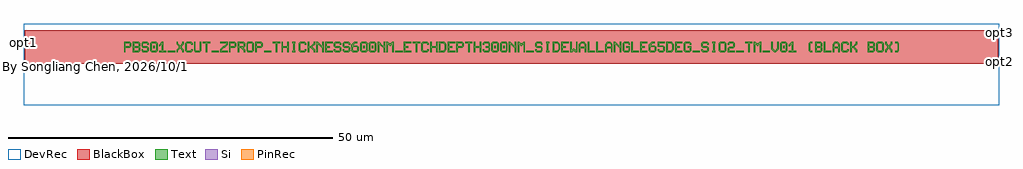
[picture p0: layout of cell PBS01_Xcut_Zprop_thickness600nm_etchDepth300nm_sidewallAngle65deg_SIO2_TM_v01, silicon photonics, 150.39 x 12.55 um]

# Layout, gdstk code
import gdstk
lib = gdstk.Library(unit=1e-6, precision=1e-10)
def R(c, l, rs):  # rectangles x0, y0, x1, y1
    for r in rs: c.add(gdstk.rectangle(r[:2], r[2:], *l))
def A(c, l, x, y, w, h, nx, ny, dx, dy):  # array of equal rectangles
    R(c, l, [(x+i*dx, y+j*dy, x+i*dx+w, y+j*dy+h) for i in range(nx) for j in range(ny)])
def P(c, l, *ps):  # polygons
    for p in ps: c.add(gdstk.Polygon(p, *l))
Si = (1, 0)
PinRec = (1, 10)
Text = (10, 0)
DevRec = (68, 0)
BlackBox = (998, 0)

text = lib.new_cell('TEXT')
A(text, Text, 21.568, 0, 1.123, 0.225, 3, 1, 20.22, 0)
R(text, Text, [(6.74,0,7.863,0.225), (13.48,0,14.603,0.225), (87.62,0,88.743,0.225), (94.36,0,95.483,0.225), (98.404,0,99.527,0.225), (4.493,0.562,4.718,1.011), (36.845,0.562,37.07,1.011), (38.193,0.562,38.418,1.011), (57.065,0.562,57.29,1.011), (58.413,0.562,58.638,1.011), (101.549,0.562,101.774,1.011)])
P(text, Text, [(0,0),(0,1.573),(0.899,1.573),(1.123,1.348),(1.123,0.899),(0.899,0.674),(0.225,0.674),(0.225,0.899),(0.786,0.899),(0.899,1.011),(0.899,1.236),(0.786,1.348),(0.225,1.348),(0.225,0)],
  [(1.348,0),(1.348,1.573),(2.247,1.573),(2.471,1.348),(1.573,1.348),(1.573,0.899),(2.134,0.899),(2.247,1.011),(2.247,1.236),(2.134,1.348),(2.471,1.348),(2.471,0.899),(2.359,0.786),(2.471,0.674),(1.573,0.674),(1.573,0.225),(2.134,0.225),(2.247,0.337),(2.247,0.562),(2.134,0.674),(2.471,0.674),(2.471,0.225),(2.247,0)],
  [(2.921,0),(2.696,0.225),(2.696,0.449),(2.921,0.449),(2.921,0.337),(3.033,0.225),(3.482,0.225),(3.595,0.337),(3.595,0.562),(3.482,0.674),(2.921,0.674),(2.696,0.899),(2.696,1.348),(2.921,1.573),(3.595,1.573),(3.819,1.348),(3.819,1.123),(3.595,1.123),(3.595,1.236),(3.482,1.348),(3.033,1.348),(2.921,1.236),(2.921,1.011),(3.033,0.899),(3.595,0.899),(3.819,0.674),(3.819,0.225),(3.595,0)],
  [(4.269,0),(4.044,0.225),(4.044,1.348),(4.269,1.573),(4.943,1.573),(5.167,1.348),(4.381,1.348),(4.269,1.236),(4.269,0.337),(4.381,0.225),(4.83,0.225),(4.943,0.337),(4.943,1.236),(4.83,1.348),(5.167,1.348),(5.167,0.225),(4.943,0)],
  [(5.392,0),(5.392,0.225),(5.841,0.225),(5.841,1.123),(5.729,1.123),(5.504,0.899),(5.392,0.899),(5.392,1.123),(5.841,1.573),(6.066,1.573),(6.066,0.225),(6.515,0.225),(6.515,0)],
  [(8.088,0),(8.088,0.337),(8.425,0.674),(8.425,0.899),(8.088,1.236),(8.088,1.573),(8.313,1.573),(8.313,1.348),(8.65,1.011),(8.987,1.348),(8.987,1.573),(9.211,1.573),(9.211,1.236),(8.874,0.899),(8.874,0.674),(9.211,0.337),(9.211,0),(8.987,0),(8.987,0.225),(8.65,0.562),(8.313,0.225),(8.313,0)],
  [(9.661,0),(9.436,0.225),(9.436,1.348),(9.661,1.573),(10.335,1.573),(10.559,1.348),(10.559,1.123),(10.335,1.123),(10.335,1.236),(10.222,1.348),(9.773,1.348),(9.661,1.236),(9.661,0.337),(9.773,0.225),(10.222,0.225),(10.335,0.337),(10.335,0.449),(10.559,0.449),(10.559,0.225),(10.335,0)],
  [(11.009,0),(10.784,0.225),(10.784,1.573),(11.009,1.573),(11.009,0.337),(11.121,0.225),(11.57,0.225),(11.683,0.337),(11.683,1.573),(11.907,1.573),(11.907,0.225),(11.683,0)],
  [(12.581,0),(12.581,1.348),(12.132,1.348),(12.132,1.573),(13.255,1.573),(13.255,1.348),(12.806,1.348),(12.806,0)],
  [(14.828,0),(14.828,0.449),(15.277,0.899),(15.39,0.899),(15.727,1.236),(15.727,1.348),(14.828,1.348),(14.828,1.573),(15.951,1.573),(15.951,1.123),(15.502,0.674),(15.39,0.674),(15.053,0.337),(15.053,0.225),(15.951,0.225),(15.951,0)],
  [(16.176,0),(16.176,1.573),(17.075,1.573),(17.299,1.348),(17.299,0.899),(17.075,0.674),(16.401,0.674),(16.401,0.899),(16.962,0.899),(17.075,1.011),(17.075,1.236),(16.962,1.348),(16.401,1.348),(16.401,0)],
  [(17.524,0),(17.524,1.573),(18.423,1.573),(18.647,1.348),(17.749,1.348),(17.749,0.899),(18.31,0.899),(18.423,1.011),(18.423,1.236),(18.31,1.348),(18.647,1.348),(18.647,0.899),(18.423,0.674),(18.423,0.562),(18.647,0.337),(18.647,0),(18.423,0),(18.423,0.225),(17.973,0.674),(17.749,0.674),(17.749,0)],
  [(19.097,0),(18.872,0.225),(18.872,1.348),(19.097,1.573),(19.771,1.573),(19.995,1.348),(19.995,0.786),(19.771,0.786),(19.771,1.236),(19.658,1.348),(19.209,1.348),(19.097,1.236),(19.097,0.337),(19.209,0.225),(19.658,0.225),(19.771,0.337),(19.771,0.786),(19.995,0.786),(19.995,0.225),(19.771,0)],
  [(20.22,0),(20.22,1.573),(21.119,1.573),(21.343,1.348),(21.343,0.899),(21.119,0.674),(20.445,0.674),(20.445,0.899),(21.006,0.899),(21.119,1.011),(21.119,1.236),(21.006,1.348),(20.445,1.348),(20.445,0)],
  [(23.365,0),(23.365,1.348),(22.916,1.348),(22.916,1.573),(24.039,1.573),(24.039,1.348),(23.59,1.348),(23.59,0)],
  [(24.264,0),(24.264,1.573),(24.489,1.573),(24.489,0.899),(25.163,0.899),(25.163,1.573),(25.387,1.573),(25.387,0),(25.163,0),(25.163,0.674),(24.489,0.674),(24.489,0)],
  [(25.949,0),(25.949,0.225),(26.061,0.225),(26.061,1.348),(25.949,1.348),(25.949,1.573),(26.398,1.573),(26.398,1.348),(26.286,1.348),(26.286,0.225),(26.398,0.225),(26.398,0)],
  [(27.185,0),(26.96,0.225),(26.96,1.348),(27.185,1.573),(27.859,1.573),(28.083,1.348),(28.083,1.123),(27.859,1.123),(27.859,1.236),(27.746,1.348),(27.297,1.348),(27.185,1.236),(27.185,0.337),(27.297,0.225),(27.746,0.225),(27.859,0.337),(27.859,0.449),(28.083,0.449),(28.083,0.225),(27.859,0)],
  [(28.308,0),(28.308,1.573),(28.533,1.573),(28.533,0.899),(28.757,0.899),(29.207,1.348),(29.207,1.573),(29.431,1.573),(29.431,1.236),(28.982,0.786),(29.431,0.337),(29.431,0),(29.207,0),(29.207,0.225),(28.757,0.674),(28.533,0.674),(28.533,0)],
  [(29.656,0),(29.656,1.573),(29.881,1.573),(30.442,1.011),(30.555,1.011),(30.555,1.573),(30.779,1.573),(30.779,0),(30.555,0),(30.555,0.562),(29.993,1.123),(29.881,1.123),(29.881,0)],
  [(31.004,0),(31.004,1.573),(32.127,1.573),(32.127,1.348),(31.229,1.348),(31.229,0.899),(31.678,0.899),(31.678,0.674),(31.229,0.674),(31.229,0.225),(32.127,0.225),(32.127,0)],
  [(32.577,0),(32.352,0.225),(32.352,0.449),(32.577,0.449),(32.577,0.337),(32.689,0.225),(33.138,0.225),(33.251,0.337),(33.251,0.562),(33.138,0.674),(32.577,0.674),(32.352,0.899),(32.352,1.348),(32.577,1.573),(33.251,1.573),(33.475,1.348),(33.475,1.123),(33.251,1.123),(33.251,1.236),(33.138,1.348),(32.689,1.348),(32.577,1.236),(32.577,1.011),(32.689,0.899),(33.251,0.899),(33.475,0.674),(33.475,0.225),(33.251,0)],
  [(33.925,0),(33.7,0.225),(33.7,0.449),(33.925,0.449),(33.925,0.337),(34.037,0.225),(34.486,0.225),(34.599,0.337),(34.599,0.562),(34.486,0.674),(33.925,0.674),(33.7,0.899),(33.7,1.348),(33.925,1.573),(34.599,1.573),(34.823,1.348),(34.823,1.123),(34.599,1.123),(34.599,1.236),(34.486,1.348),(34.037,1.348),(33.925,1.236),(33.925,1.011),(34.037,0.899),(34.599,0.899),(34.823,0.674),(34.823,0.225),(34.599,0)],
  [(35.273,0),(35.048,0.225),(35.048,1.123),(35.497,1.573),(35.947,1.573),(35.947,1.348),(35.61,1.348),(35.385,1.123),(35.385,1.011),(35.947,1.011),(36.171,0.786),(35.385,0.786),(35.273,0.674),(35.273,0.337),(35.385,0.225),(35.834,0.225),(35.947,0.337),(35.947,0.674),(35.834,0.786),(36.171,0.786),(36.171,0.225),(35.947,0)],
  [(36.621,0),(36.396,0.225),(36.396,1.348),(36.621,1.573),(37.295,1.573),(37.519,1.348),(36.733,1.348),(36.621,1.236),(36.621,0.337),(36.733,0.225),(37.182,0.225),(37.295,0.337),(37.295,1.236),(37.182,1.348),(37.519,1.348),(37.519,0.225),(37.295,0)],
  [(37.969,0),(37.744,0.225),(37.744,1.348),(37.969,1.573),(38.643,1.573),(38.867,1.348),(38.081,1.348),(37.969,1.236),(37.969,0.337),(38.081,0.225),(38.53,0.225),(38.643,0.337),(38.643,1.236),(38.53,1.348),(38.867,1.348),(38.867,0.225),(38.643,0)],
  [(39.092,0),(39.092,1.573),(39.317,1.573),(39.878,1.011),(39.991,1.011),(39.991,1.573),(40.215,1.573),(40.215,0),(39.991,0),(39.991,0.562),(39.429,1.123),(39.317,1.123),(39.317,0)],
  [(40.44,0),(40.44,1.573),(40.665,1.573),(40.889,1.348),(41.114,1.348),(41.339,1.573),(41.563,1.573),(41.563,0),(41.339,0),(41.339,1.123),(41.226,1.123),(41.002,0.899),(40.777,1.123),(40.665,1.123),(40.665,0)],
  [(43.136,0),(43.136,1.573),(44.259,1.573),(44.259,1.348),(43.361,1.348),(43.361,0.899),(43.81,0.899),(43.81,0.674),(43.361,0.674),(43.361,0.225),(44.259,0.225),(44.259,0)],
  [(44.933,0),(44.933,1.348),(44.484,1.348),(44.484,1.573),(45.607,1.573),(45.607,1.348),(45.158,1.348),(45.158,0)],
  [(46.057,0),(45.832,0.225),(45.832,1.348),(46.057,1.573),(46.731,1.573),(46.955,1.348),(46.955,1.123),(46.731,1.123),(46.731,1.236),(46.618,1.348),(46.169,1.348),(46.057,1.236),(46.057,0.337),(46.169,0.225),(46.618,0.225),(46.731,0.337),(46.731,0.449),(46.955,0.449),(46.955,0.225),(46.731,0)],
  [(47.18,0),(47.18,1.573),(47.405,1.573),(47.405,0.899),(48.079,0.899),(48.079,1.573),(48.303,1.573),(48.303,0),(48.079,0),(48.079,0.674),(47.405,0.674),(47.405,0)],
  [(48.528,0),(48.528,1.573),(49.314,1.573),(49.539,1.348),(48.753,1.348),(48.753,0.225),(49.202,0.225),(49.427,0.449),(49.427,1.123),(49.202,1.348),(49.539,1.348),(49.651,1.236),(49.651,0.337),(49.314,0)],
  [(49.876,0),(49.876,1.573),(50.999,1.573),(50.999,1.348),(50.101,1.348),(50.101,0.899),(50.55,0.899),(50.55,0.674),(50.101,0.674),(50.101,0.225),(50.999,0.225),(50.999,0)],
  [(51.224,0),(51.224,1.573),(52.123,1.573),(52.347,1.348),(52.347,0.899),(52.123,0.674),(51.449,0.674),(51.449,0.899),(52.01,0.899),(52.123,1.011),(52.123,1.236),(52.01,1.348),(51.449,1.348),(51.449,0)],
  [(53.021,0),(53.021,1.348),(52.572,1.348),(52.572,1.573),(53.695,1.573),(53.695,1.348),(53.246,1.348),(53.246,0)],
  [(53.92,0),(53.92,1.573),(54.145,1.573),(54.145,0.899),(54.819,0.899),(54.819,1.573),(55.043,1.573),(55.043,0),(54.819,0),(54.819,0.674),(54.145,0.674),(54.145,0)],
  [(55.493,0),(55.268,0.225),(55.268,0.449),(55.493,0.449),(55.493,0.337),(55.605,0.225),(56.054,0.225),(56.167,0.337),(56.167,0.562),(56.054,0.674),(55.717,0.674),(55.717,0.899),(56.054,0.899),(56.167,1.011),(56.167,1.236),(56.054,1.348),(55.605,1.348),(55.493,1.236),(55.493,1.123),(55.268,1.123),(55.268,1.348),(55.493,1.573),(56.167,1.573),(56.391,1.348),(56.391,0.899),(56.279,0.786),(56.391,0.674),(56.391,0.225),(56.167,0)],
  [(56.841,0),(56.616,0.225),(56.616,1.348),(56.841,1.573),(57.515,1.573),(57.739,1.348),(56.953,1.348),(56.841,1.236),(56.841,0.337),(56.953,0.225),(57.402,0.225),(57.515,0.337),(57.515,1.236),(57.402,1.348),(57.739,1.348),(57.739,0.225),(57.515,0)],
  [(58.189,0),(57.964,0.225),(57.964,1.348),(58.189,1.573),(58.863,1.573),(59.087,1.348),(58.301,1.348),(58.189,1.236),(58.189,0.337),(58.301,0.225),(58.75,0.225),(58.863,0.337),(58.863,1.236),(58.75,1.348),(59.087,1.348),(59.087,0.225),(58.863,0)],
  [(59.312,0),(59.312,1.573),(59.537,1.573),(60.098,1.011),(60.211,1.011),(60.211,1.573),(60.435,1.573),(60.435,0),(60.211,0),(60.211,0.562),(59.649,1.123),(59.537,1.123),(59.537,0)],
  [(60.66,0),(60.66,1.573),(60.885,1.573),(61.109,1.348),(61.334,1.348),(61.559,1.573),(61.783,1.573),(61.783,0),(61.559,0),(61.559,1.123),(61.446,1.123),(61.222,0.899),(60.997,1.123),(60.885,1.123),(60.885,0)],
  [(63.581,0),(63.356,0.225),(63.356,0.449),(63.581,0.449),(63.581,0.337),(63.693,0.225),(64.142,0.225),(64.255,0.337),(64.255,0.562),(64.142,0.674),(63.581,0.674),(63.356,0.899),(63.356,1.348),(63.581,1.573),(64.255,1.573),(64.479,1.348),(64.479,1.123),(64.255,1.123),(64.255,1.236),(64.142,1.348),(63.693,1.348),(63.581,1.236),(63.581,1.011),(63.693,0.899),(64.255,0.899),(64.479,0.674),(64.479,0.225),(64.255,0)],
  [(65.041,0),(65.041,0.225),(65.153,0.225),(65.153,1.348),(65.041,1.348),(65.041,1.573),(65.49,1.573),(65.49,1.348),(65.378,1.348),(65.378,0.225),(65.49,0.225),(65.49,0)],
  [(66.052,0),(66.052,1.573),(66.838,1.573),(67.063,1.348),(66.277,1.348),(66.277,0.225),(66.726,0.225),(66.951,0.449),(66.951,1.123),(66.726,1.348),(67.063,1.348),(67.175,1.236),(67.175,0.337),(66.838,0)],
  [(67.4,0),(67.4,1.573),(68.523,1.573),(68.523,1.348),(67.625,1.348),(67.625,0.899),(68.074,0.899),(68.074,0.674),(67.625,0.674),(67.625,0.225),(68.523,0.225),(68.523,0)],
  [(68.748,0),(68.748,1.573),(68.973,1.573),(68.973,0.337),(69.085,0.337),(69.31,0.562),(69.534,0.337),(69.647,0.337),(69.647,1.573),(69.871,1.573),(69.871,0),(69.534,0),(69.31,0.225),(69.085,0)],
  [(70.096,0),(70.096,1.236),(70.433,1.573),(70.882,1.573),(71.107,1.348),(70.545,1.348),(70.321,1.123),(70.321,0.786),(70.995,0.786),(70.995,1.123),(70.77,1.348),(71.107,1.348),(71.219,1.236),(71.219,0),(70.995,0),(70.995,0.562),(70.321,0.562),(70.321,0)],
  [(71.444,0),(71.444,1.573),(71.669,1.573),(71.669,0.225),(72.567,0.225),(72.567,0)],
  [(72.792,0),(72.792,1.573),(73.017,1.573),(73.017,0.225),(73.915,0.225),(73.915,0)],
  [(74.14,0),(74.14,1.236),(74.477,1.573),(74.926,1.573),(75.151,1.348),(74.589,1.348),(74.365,1.123),(74.365,0.786),(75.039,0.786),(75.039,1.123),(74.814,1.348),(75.151,1.348),(75.263,1.236),(75.263,0),(75.039,0),(75.039,0.562),(74.365,0.562),(74.365,0)],
  [(75.488,0),(75.488,1.573),(75.713,1.573),(76.274,1.011),(76.387,1.011),(76.387,1.573),(76.611,1.573),(76.611,0),(76.387,0),(76.387,0.562),(75.825,1.123),(75.713,1.123),(75.713,0)],
  [(77.061,0),(76.836,0.225),(76.836,1.348),(77.061,1.573),(77.735,1.573),(77.959,1.348),(77.959,1.123),(77.735,1.123),(77.735,1.236),(77.622,1.348),(77.173,1.348),(77.061,1.236),(77.061,0.337),(77.173,0.225),(77.622,0.225),(77.735,0.337),(77.735,0.674),(77.398,0.674),(77.398,0.899),(77.959,0.899),(77.959,0.225),(77.735,0)],
  [(78.184,0),(78.184,1.573),(78.409,1.573),(78.409,0.225),(79.307,0.225),(79.307,0)],
  [(79.532,0),(79.532,1.573),(80.655,1.573),(80.655,1.348),(79.757,1.348),(79.757,0.899),(80.206,0.899),(80.206,0.674),(79.757,0.674),(79.757,0.225),(80.655,0.225),(80.655,0)],
  [(81.105,0),(80.88,0.225),(80.88,1.123),(81.329,1.573),(81.779,1.573),(81.779,1.348),(81.442,1.348),(81.217,1.123),(81.217,1.011),(81.779,1.011),(82.003,0.786),(81.217,0.786),(81.105,0.674),(81.105,0.337),(81.217,0.225),(81.666,0.225),(81.779,0.337),(81.779,0.674),(81.666,0.786),(82.003,0.786),(82.003,0.225),(81.779,0)],
  [(82.453,0),(82.228,0.225),(82.228,0.449),(82.453,0.449),(82.453,0.337),(82.565,0.225),(83.014,0.225),(83.127,0.337),(83.127,0.674),(83.014,0.786),(82.228,0.786),(82.228,1.573),(83.351,1.573),(83.351,1.348),(82.453,1.348),(82.453,1.011),(83.127,1.011),(83.351,0.786),(83.351,0.225),(83.127,0)],
  [(83.576,0),(83.576,1.573),(84.362,1.573),(84.587,1.348),(83.801,1.348),(83.801,0.225),(84.25,0.225),(84.475,0.449),(84.475,1.123),(84.25,1.348),(84.587,1.348),(84.699,1.236),(84.699,0.337),(84.362,0)],
  [(84.924,0),(84.924,1.573),(86.047,1.573),(86.047,1.348),(85.149,1.348),(85.149,0.899),(85.598,0.899),(85.598,0.674),(85.149,0.674),(85.149,0.225),(86.047,0.225),(86.047,0)],
  [(86.497,0),(86.272,0.225),(86.272,1.348),(86.497,1.573),(87.171,1.573),(87.395,1.348),(87.395,1.123),(87.171,1.123),(87.171,1.236),(87.058,1.348),(86.609,1.348),(86.497,1.236),(86.497,0.337),(86.609,0.225),(87.058,0.225),(87.171,0.337),(87.171,0.674),(86.834,0.674),(86.834,0.899),(87.395,0.899),(87.395,0.225),(87.171,0)],
  [(89.193,0),(88.968,0.225),(88.968,0.449),(89.193,0.449),(89.193,0.337),(89.305,0.225),(89.754,0.225),(89.867,0.337),(89.867,0.562),(89.754,0.674),(89.193,0.674),(88.968,0.899),(88.968,1.348),(89.193,1.573),(89.867,1.573),(90.091,1.348),(90.091,1.123),(89.867,1.123),(89.867,1.236),(89.754,1.348),(89.305,1.348),(89.193,1.236),(89.193,1.011),(89.305,0.899),(89.867,0.899),(90.091,0.674),(90.091,0.225),(89.867,0)],
  [(90.653,0),(90.653,0.225),(90.765,0.225),(90.765,1.348),(90.653,1.348),(90.653,1.573),(91.102,1.573),(91.102,1.348),(90.99,1.348),(90.99,0.225),(91.102,0.225),(91.102,0)],
  [(91.889,0),(91.664,0.225),(91.664,1.348),(91.889,1.573),(92.563,1.573),(92.787,1.348),(92.787,0.786),(92.563,0.786),(92.563,1.236),(92.45,1.348),(92.001,1.348),(91.889,1.236),(91.889,0.337),(92.001,0.225),(92.45,0.225),(92.563,0.337),(92.563,0.786),(92.787,0.786),(92.787,0.225),(92.563,0)],
  [(93.012,0),(93.012,0.562),(93.237,0.786),(93.798,0.786),(93.911,0.899),(93.911,1.236),(93.798,1.348),(93.349,1.348),(93.237,1.236),(93.237,1.123),(93.012,1.123),(93.012,1.348),(93.237,1.573),(93.911,1.573),(94.135,1.348),(94.135,0.786),(93.911,0.562),(93.349,0.562),(93.237,0.449),(93.237,0.225),(94.135,0.225),(94.135,0)],
  [(96.157,0),(96.157,1.348),(95.708,1.348),(95.708,1.573),(96.831,1.573),(96.831,1.348),(96.382,1.348),(96.382,0)],
  [(97.056,0),(97.056,1.573),(97.281,1.573),(97.505,1.348),(97.73,1.348),(97.955,1.573),(98.179,1.573),(98.179,0),(97.955,0),(97.955,1.123),(97.842,1.123),(97.618,0.899),(97.393,1.123),(97.281,1.123),(97.281,0)],
  [(100.201,0),(99.752,0.449),(99.752,1.573),(99.977,1.573),(99.977,0.562),(100.314,0.225),(100.651,0.562),(100.651,1.573),(100.875,1.573),(100.875,0.449),(100.426,0)],
  [(101.325,0),(101.1,0.225),(101.1,1.348),(101.325,1.573),(101.999,1.573),(102.223,1.348),(101.437,1.348),(101.325,1.236),(101.325,0.337),(101.437,0.225),(101.886,0.225),(101.999,0.337),(101.999,1.236),(101.886,1.348),(102.223,1.348),(102.223,0.225),(101.999,0)],
  [(102.448,0),(102.448,0.225),(102.897,0.225),(102.897,1.123),(102.785,1.123),(102.56,0.899),(102.448,0.899),(102.448,1.123),(102.897,1.573),(103.122,1.573),(103.122,0.225),(103.571,0.225),(103.571,0)],
  [(105.706,0),(105.481,0.225),(105.481,1.348),(105.706,1.573),(106.043,1.573),(106.043,1.348),(105.818,1.348),(105.706,1.236),(105.706,0.337),(105.818,0.225),(106.043,0.225),(106.043,0)],
  [(106.492,0),(106.492,1.573),(107.391,1.573),(107.615,1.348),(106.717,1.348),(106.717,0.899),(107.278,0.899),(107.391,1.011),(107.391,1.236),(107.278,1.348),(107.615,1.348),(107.615,0.899),(107.503,0.786),(107.615,0.674),(106.717,0.674),(106.717,0.225),(107.278,0.225),(107.391,0.337),(107.391,0.562),(107.278,0.674),(107.615,0.674),(107.615,0.225),(107.391,0)],
  [(107.84,0),(107.84,1.573),(108.065,1.573),(108.065,0.225),(108.963,0.225),(108.963,0)],
  [(109.188,0),(109.188,1.236),(109.525,1.573),(109.974,1.573),(110.199,1.348),(109.637,1.348),(109.413,1.123),(109.413,0.786),(110.087,0.786),(110.087,1.123),(109.862,1.348),(110.199,1.348),(110.311,1.236),(110.311,0),(110.087,0),(110.087,0.562),(109.413,0.562),(109.413,0)],
  [(110.761,0),(110.536,0.225),(110.536,1.348),(110.761,1.573),(111.435,1.573),(111.659,1.348),(111.659,1.123),(111.435,1.123),(111.435,1.236),(111.322,1.348),(110.873,1.348),(110.761,1.236),(110.761,0.337),(110.873,0.225),(111.322,0.225),(111.435,0.337),(111.435,0.449),(111.659,0.449),(111.659,0.225),(111.435,0)],
  [(111.884,0),(111.884,1.573),(112.109,1.573),(112.109,0.899),(112.333,0.899),(112.783,1.348),(112.783,1.573),(113.007,1.573),(113.007,1.236),(112.558,0.786),(113.007,0.337),(113.007,0),(112.783,0),(112.783,0.225),(112.333,0.674),(112.109,0.674),(112.109,0)],
  [(114.58,0),(114.58,1.573),(115.479,1.573),(115.703,1.348),(114.805,1.348),(114.805,0.899),(115.366,0.899),(115.479,1.011),(115.479,1.236),(115.366,1.348),(115.703,1.348),(115.703,0.899),(115.591,0.786),(115.703,0.674),(114.805,0.674),(114.805,0.225),(115.366,0.225),(115.479,0.337),(115.479,0.562),(115.366,0.674),(115.703,0.674),(115.703,0.225),(115.479,0)],
  [(116.153,0),(115.928,0.225),(115.928,1.348),(116.153,1.573),(116.827,1.573),(117.051,1.348),(117.051,0.786),(116.827,0.786),(116.827,1.236),(116.714,1.348),(116.265,1.348),(116.153,1.236),(116.153,0.337),(116.265,0.225),(116.714,0.225),(116.827,0.337),(116.827,0.786),(117.051,0.786),(117.051,0.225),(116.827,0)],
  [(117.276,0),(117.276,0.337),(117.613,0.674),(117.613,0.899),(117.276,1.236),(117.276,1.573),(117.501,1.573),(117.501,1.348),(117.838,1.011),(118.175,1.348),(118.175,1.573),(118.399,1.573),(118.399,1.236),(118.062,0.899),(118.062,0.674),(118.399,0.337),(118.399,0),(118.175,0),(118.175,0.225),(117.838,0.562),(117.501,0.225),(117.501,0)],
  [(118.849,0),(118.849,0.225),(119.073,0.225),(119.186,0.337),(119.186,1.236),(119.073,1.348),(118.849,1.348),(118.849,1.573),(119.186,1.573),(119.41,1.348),(119.41,0.225),(119.186,0)])

pbs01_xcut_zprop_thickne = lib.new_cell('PBS01_Xcut_Zprop_thickness600nm_etchDepth300nm_sidewallAngle65deg_SIO2_TM_v01')
R(pbs01_xcut_zprop_thickne, Si, [(74.9869,-2.5758,75.1869,-1.8758), (-75.187,0.385,-74.987,1.085), (74.9869,1.8758,75.1869,2.5758)])
R(pbs01_xcut_zprop_thickne, DevRec, [(-75.187,-8.9758,75.1869,3.5758)])
R(pbs01_xcut_zprop_thickne, BlackBox, [(-74.987,-2.5758,74.9869,2.5758)])
pbs01_xcut_zprop_thickne.add(gdstk.FlexPath([(-75.177,0.735),(-75.197,0.735)], 0.7, ends="flush", simple_path=True, layer=1, datatype=10))  # PinRec
pbs01_xcut_zprop_thickne.add(gdstk.FlexPath([(75.1769,-2.2258),(75.1969,-2.2258)], 0.7, ends="flush", simple_path=True, layer=1, datatype=10))  # PinRec
pbs01_xcut_zprop_thickne.add(gdstk.FlexPath([(75.1769,2.2258),(75.1969,2.2258)], 0.7, ends="flush", simple_path=True, layer=1, datatype=10))  # PinRec
pbs01_xcut_zprop_thickne.add(gdstk.Reference(text, (-59.7051,-0.7865)))
pbs01_xcut_zprop_thickne.add(gdstk.Label('opt1', (-75.187,0.735), layer=1, texttype=10))
pbs01_xcut_zprop_thickne.add(gdstk.Label('opt2', (75.1869,-2.2258), layer=1, texttype=10))
pbs01_xcut_zprop_thickne.add(gdstk.Label('opt3', (75.1869,2.2258), layer=1, texttype=10))
pbs01_xcut_zprop_thickne.add(gdstk.Label('By Songliang Chen, 2026/10/13', (-74.687,-3.0758), layer=10, texttype=0))

lib.write_gds('PBS01_Xcut_Zprop_thickness600nm_etchDepth300nm_sidewallAngle65deg_SIO2_TM_v01.gds')
